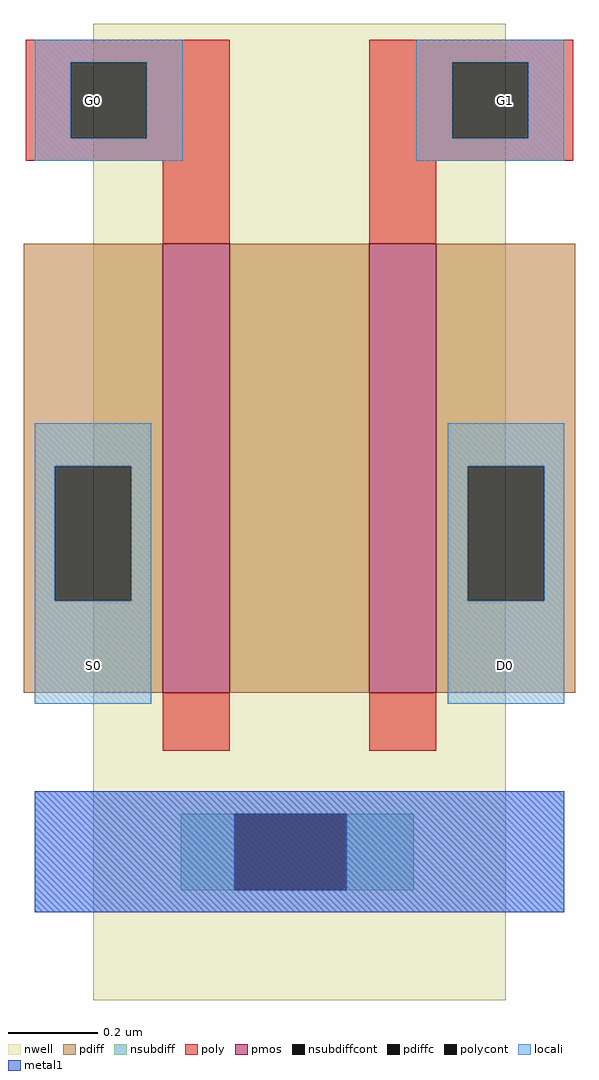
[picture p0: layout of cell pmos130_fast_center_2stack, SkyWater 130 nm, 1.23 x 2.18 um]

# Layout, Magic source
magic
tech sky130A
magscale 1 2
<< nwell >>
rect 0 -66 184 369
<< pmos >>
rect 31 71 61 271
rect 123 71 153 271
<< pdiff >>
rect -31 172 31 271
rect -31 112 -17 172
rect 17 112 31 172
rect -31 71 31 112
rect 61 71 123 271
rect 153 172 215 271
rect 153 112 167 172
rect 201 112 215 172
rect 153 71 215 112
<< pdiffc >>
rect -17 112 17 172
rect 167 112 201 172
<< nsubdiff >>
rect 39 -17 63 17
rect 113 -17 143 17
<< nsubdiffcont >>
rect 63 -17 113 17
<< poly >>
rect -30 352 61 362
rect -30 318 -10 352
rect 24 318 61 352
rect -30 308 61 318
rect 31 271 61 308
rect 123 352 214 362
rect 123 318 160 352
rect 194 318 214 352
rect 123 308 214 318
rect 123 271 153 308
rect 31 45 61 71
rect 123 45 153 71
<< polycont >>
rect -10 318 24 352
rect 160 318 194 352
<< locali >>
rect -26 352 40 362
rect -26 318 -10 352
rect 24 318 40 352
rect -26 308 40 318
rect 144 352 210 362
rect 144 318 160 352
rect 194 318 210 352
rect 144 308 210 318
rect -26 172 26 191
rect -26 112 -17 172
rect 17 112 26 172
rect -26 66 26 112
rect 158 172 210 191
rect 158 112 167 172
rect 201 112 210 172
rect 158 66 210 112
rect -26 17 210 27
rect -26 -17 63 17
rect 113 -17 210 17
rect -26 -27 210 -17
<< metal1 >>
rect -26 -27 210 27
<< labels >>
flabel locali -26 66 26 100 0 FreeSans 160 0 0 0 S0
flabel locali 158 66 210 100 0 FreeSans 160 0 0 0 D0
flabel locali -26 308 26 362 0 FreeSans 136 0 0 0 G0
flabel locali 158 308 210 362 0 FreeSans 136 0 0 0 G1
<< end >>
